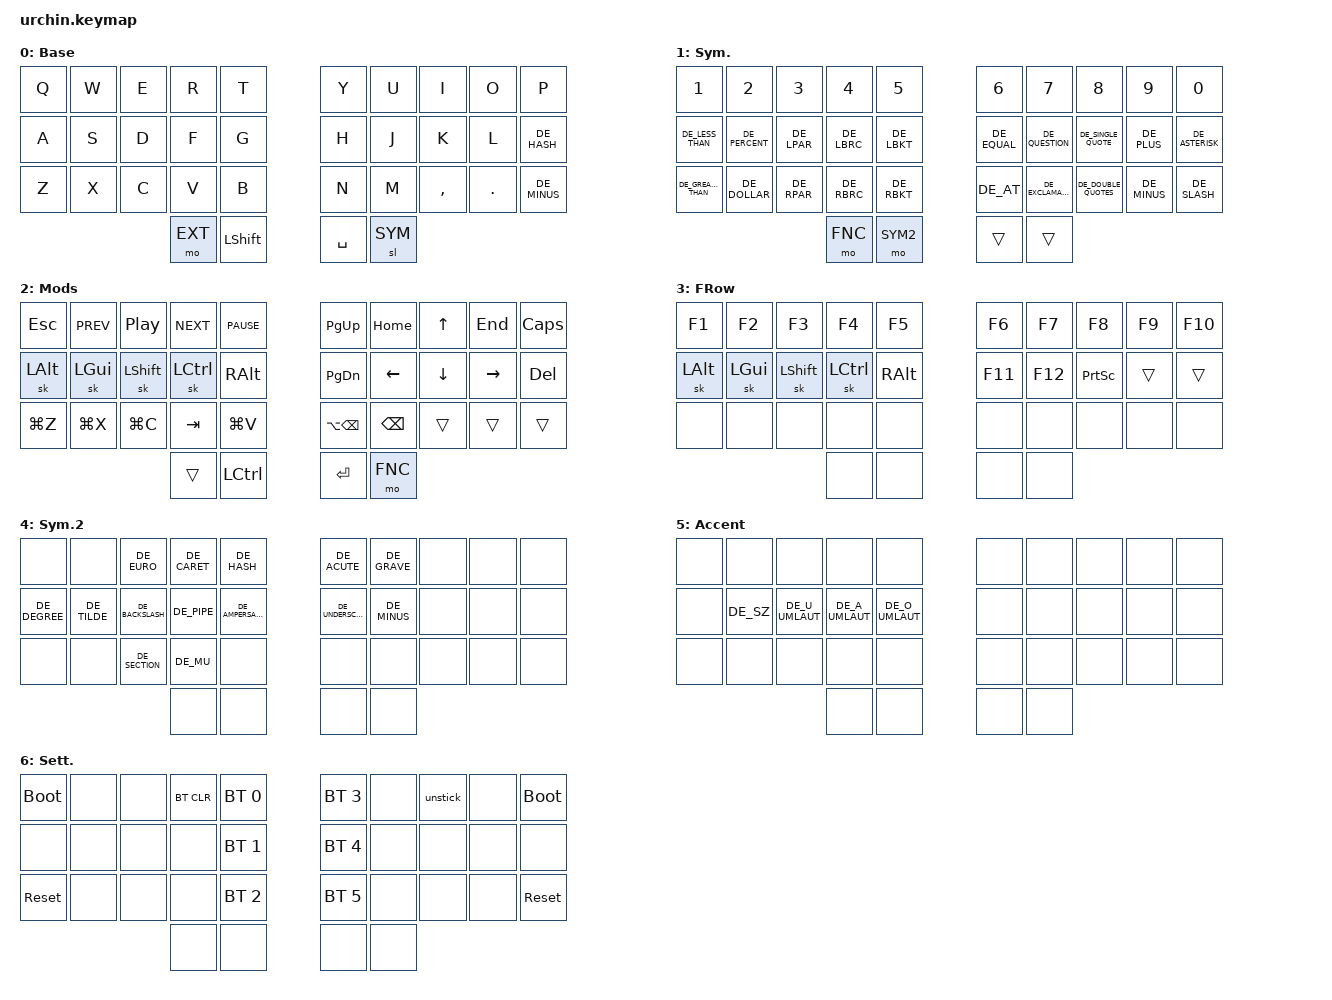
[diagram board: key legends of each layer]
/*
 * Copyright (c) 2020 duckyb
 *
 * SPDX-License-Identifier: MIT
 */

#include "keys_de.h"
#include <behaviors.dtsi>
#include <dt-bindings/zmk/bt.h>
#include <dt-bindings/zmk/keys.h>

// Layer definitions

#define BASE 0
#define SYM 1
#define EXT 2
#define FNC 3
#define SYM2 4
#define ACCENT 5
#define SETTINGS 6

// -----------------

&sk {
    // don't release mods on other mods presses
    ignore-modifiers;
};

/ {
    behaviors {
        // Modified quick_tap to avoid conflicts with macOS accent behavior
        qt: quick_tap {
            compatible = "zmk,behavior-hold-tap";
            label = "QUICK_TAP";
            #binding-cells = <2>;
            flavor = "tap-preferred";  // Changed from hold-preferred
            tapping-term-ms = <150>;   // Reduced from 200ms
            quick-tap-ms = <150>;      // Reduced from 200ms
            bindings = <&kp>, <&kp>;
        };

        // Better mod-tap for programming
        mt: mod_tap {
            compatible = "zmk,behavior-hold-tap";
            label = "MOD_TAP";
            #binding-cells = <2>;
            flavor = "tap-preferred";
            tapping-term-ms = <200>;
            quick-tap-ms = <175>;
            bindings = <&kp>, <&kp>;
        };
    };

    macros {
        // sometimes my device thinks a modifier is being held down
        // pressing all modifiers fixes it.
        unstick: unstick {
            label = "ZM_unstick";
            compatible = "zmk,behavior-macro";
            #binding-cells = <0>;
            bindings = <&kp LSHIFT &kp RSHIFT &kp LCTRL &kp RCTRL &kp LALT &kp RALT &kp LGUI &kp RGUI>;
        };
    };

    combos {
        compatible = "zmk,combos";

        // both right thumb keys
        combo_accent {
            timeout-ms = <200>;
            key-positions = <32 33>;
            bindings = <&mo ACCENT>;
        };

        // internal-left & external-right thumb keys
        combo_sym2 {
            timeout-ms = <200>;
            key-positions = <31 33>;
            bindings = <&mo SYM2>;
        };

        // both left thumb keys
        combo_settings {
            timeout-ms = <200>;
            key-positions = <30 31>;
            bindings = <&mo SETTINGS>;
        };

        // left index & middle fingers (home-row)
        // hold control & space for Adobe workflow
        combo_ctrl_space {
            timeout-ms = <200>;
            key-positions = <12 13>;
            bindings = <&kp LC(SPACE)>;
            layers = <BASE>;
        };
    };

    keymap {
        compatible = "zmk,keymap";

        // Base alpha layer
        default_layer {
            label = "Base";
            bindings = <
&kp Q  &kp W  &kp E  &kp R    &kp T        &kp Y      &kp U    &kp I      &kp O       &kp P
&kp A  &kp S  &kp D  &kp F    &kp G        &kp H      &kp J    &kp K      &kp L       &kp DE_HASH
&kp Z  &kp X  &kp C  &kp V    &kp B        &kp N      &kp M    &kp COMMA  &kp PERIOD  &kp DE_MINUS
                     &mo EXT  &kp LSHIFT   &kp SPACE  &sl SYM
            >;
        };

        // Numbers and high frequency symbols
        sym_layer {
            label = "Sym.";
            bindings = <
&kp N1              &kp N2         &kp N3           &kp N4           &kp N5             &kp N6       &kp N7             &kp N8               &kp N9       &kp N0
&kp DE_LESS_THAN    &kp DE_PERCENT &kp DE_LPAR      &kp DE_LBRC      &kp DE_LBKT        &kp DE_EQUAL &kp DE_QUESTION    &kp DE_SINGLE_QUOTE  &kp DE_PLUS  &kp DE_ASTERISK
&kp DE_GREATER_THAN &kp DE_DOLLAR  &kp DE_RPAR      &kp DE_RBRC      &kp DE_RBKT        &kp DE_AT    &kp DE_EXCLAMATION &kp DE_DOUBLE_QUOTES &kp DE_MINUS &kp DE_SLASH
                                                    &mo FNC          &mo SYM2           &trans       &trans
            >;
        };

        // Main modifiers and arrow keys
        ext_layer {
            label = "Mods";
            bindings = <
&kp ESC    &kp C_PREV  &kp C_PP    &kp C_NEXT  &kp C_PAUSE  &kp PG_UP     &kp HOME  &kp UP    &kp END    &kp CAPS
&sk LALT   &sk LGUI    &sk LSHIFT  &sk LCTRL   &kp RALT     &kp PG_DN     &kp LEFT  &kp DOWN  &kp RIGHT  &kp DEL
&kp LG(Z)  &kp LG(X)   &kp LG(C)   &kp TAB     &kp LG(V)    &kp LA(BSPC)  &kp BSPC  &trans    &trans     &trans
                                   &trans      &kp LCTRL    &kp ENTER     &mo FNC
            >;
        };

        // Function keys with modifiers
        fnc_layer {
            label = "FRow";
            bindings = <
&kp F1    &kp F2    &kp F3      &kp F4     &kp F5    &kp F6   &kp F7   &kp F8           &kp F9  &kp F10
&sk LALT  &sk LGUI  &sk LSHIFT  &sk LCTRL  &kp RALT  &kp F11  &kp F12  &kp PRINTSCREEN  &trans  &trans
&none     &none     &none       &none      &none     &none    &none    &none            &none   &none
                                &none      &none     &none    &none
            >;
        };

        // Low frequency symbols - FIXED for German programming
        symbols_2_layer {
            label = "Sym.2";
            bindings = <
&none            &none        &kp DE_EURO          &kp DE_CARET       &kp DE_HASH        &kp DE_ACUTE      &kp DE_GRAVE  &none  &none  &none
&kp DE_DEGREE    &kp DE_TILDE &kp DE_BACKSLASH     &kp DE_PIPE        &kp DE_AMPERSAND   &kp DE_UNDERSCORE &kp DE_MINUS  &none  &none  &none
&none            &none        &kp DE_SECTION       &kp DE_MU          &none              &none             &none         &none  &none  &none
                                                   &none              &none              &none             &none
            >;
        };

        // Used to type regional accents.
        accent_layer {
            label = "Accent";
            bindings = <
&none  &none      &none             &none             &none             &none  &none  &none  &none  &none
&none  &kp DE_SZ  &kp DE_U_UMLAUT   &kp DE_A_UMLAUT   &kp DE_O_UMLAUT   &none  &none  &none  &none  &none
&none  &none      &none             &none             &none             &none  &none  &none  &none  &none
                                    &none             &none             &none  &none
            >;
        };

        // Used to change the keyboard's settings.
        settings_layer {
            label = "Sett.";
            bindings = <
&bootloader     &none  &none  &bt BT_CLR  &bt BT_SEL 0  &bt BT_SEL 3  &none  &unstick  &none  &bootloader
&none           &none  &none  &none       &bt BT_SEL 1  &bt BT_SEL 4  &none  &none     &none  &none
&sys_reset      &none  &none  &none       &bt BT_SEL 2  &bt BT_SEL 5  &none  &none     &none  &sys_reset
                              &none       &none         &none         &none
            >;
        };
    };
};
